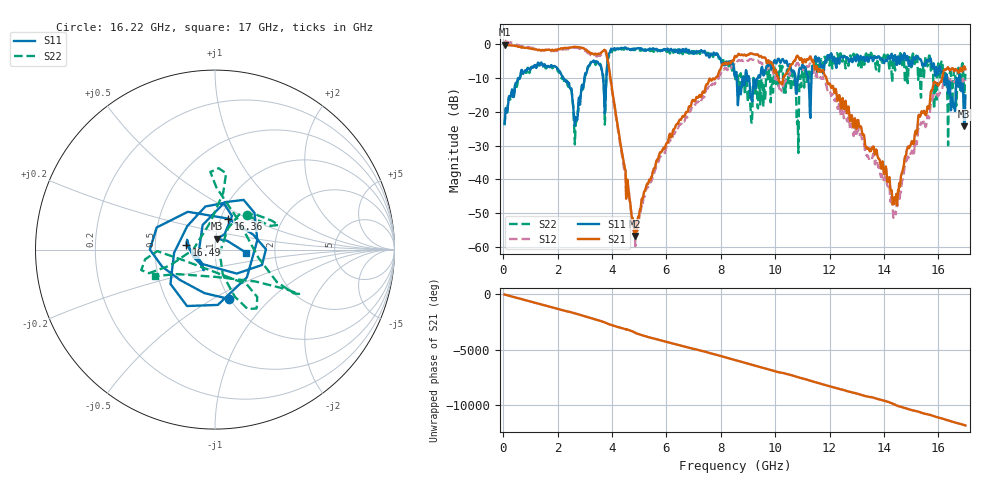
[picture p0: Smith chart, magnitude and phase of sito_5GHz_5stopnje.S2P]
! C:\Users\Aljaz\Desktop\sito_5GHz_5stipnje.S2P
! Touchstone 1.1 file saved by VNA.EXE V1.65 (www.ke5fx.com/gpib/readme.htm)
! 27. 03. 2024 12:21:21
!  Source: HP8510C.07.14: Aug 26  1998
!  Min freq: 4.500000E+007 Hz
!  Max freq: 1.700000E+010 Hz
!  Points: 801
!  Params: S11 S21 S12 S22
# GHZ S DB R 50
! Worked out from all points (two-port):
!   801 points, 45 MHz to 17 GHz, reference 50 ohm
!   highest |S21| = -0.06 dB at 45 MHz (marker M1); lowest = -56.8 dB at 4.856 GHz (marker M2)
!   |S21| within 3 dB of the highest: start of sweep to 3.804 GHz; 8.984 GHz to 9.376 GHz (391.6 MHz wide, 4.27 % of centre)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
!   lowest |S11| = -24.3 dB at 16.96 GHz (marker M3), VSWR 1.13, Z = 50.5 + j6.14 ohm
!   |S11| at or under -10 dB: start of sweep to 544 MHz; 2.198 GHz to 2.985 GHz (787.1 MHz wide, 30.4 % of centre); 16.33 GHz to 16.68 GHz (352.1 MHz wide, 2.13 % of centre)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
!   |S22| runs from -32.2 to -1.0 dB; largest |S21 - S12| = 2
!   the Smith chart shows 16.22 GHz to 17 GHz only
!   S11 on the Smith chart (normalised r, x): 16.22 GHz: 0.99, -0.59; 16.36 GHz: 1.08, +0.39; 16.49 GHz: 0.73, +0.04; 17 GHz: 1.42, -0.05
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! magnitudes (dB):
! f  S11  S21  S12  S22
! 45 MHz  -23.4  -0.1  1.2  -24.0
! 1.338 GHz  -6.2  -1.6  -1.6  -6.1
! 2.398 GHz  -11.8  -1.0  -1.4  -12.6
! 2.673 GHz  -22.0  -0.7  -1.0  -22.8
! 2.885 GHz  -12.1  -1.0  -1.4  -13.1
! 3.266 GHz  -5.1  -2.7  -3.1  -5.5
! 3.796 GHz  -9.1  -2.7  -3.3  -8.5
! 3.987 GHz  -1.3  -12.5  -13.3  -2.3
! 4.856 GHz  -1.3  -56.8  -59.8  -1.5
! 5.704 GHz  -1.8  -33.6  -34.8  -1.6
! 8.523 GHz  -9.7  -3.4  -5.1  -10.2
! 9.074 GHz  -13.1  -2.6  -4.4  -16.7
! 10.2 GHz  -5.5  -11.2  -13.2  -7.9
! 10.85 GHz  -9.3  -3.6  -5.7  -32.2
! 11.36 GHz  -7.1  -5.1  -7.2  -6.3
! 14.18 GHz  -3.3  -39.9  -42.1  -5.8
! 14.41 GHz  -3.1  -45.3  -49.6  -7.7
! 16.22 GHz  -10.9  -7.6  -10.6  -11.7
! 16.36 GHz  -14.5  -6.7  -9.9  -29.9
! 16.49 GHz  -15.9  -7.1  -10.4  -11.7
! 16.96 GHz  -24.3  -6.5  -9.7  -16.4
! 17 GHz  -15.1  -7.4  -10.8  -8.7
